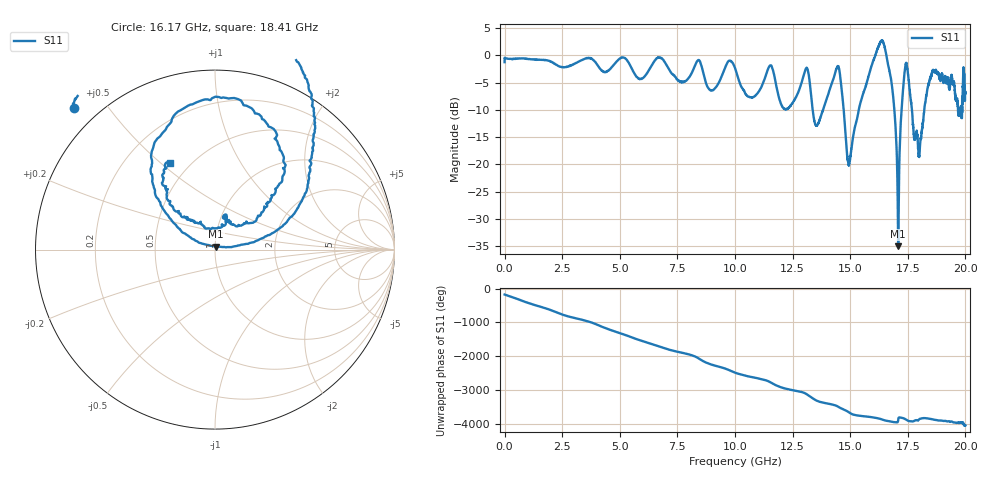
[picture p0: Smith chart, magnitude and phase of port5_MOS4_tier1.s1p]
! Created with skrf 1.8.0 (http://scikit-rf.org).
# GHz S RI R 50.0
!freq ReS11 ImS11
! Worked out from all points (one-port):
!   10001 points, 1 MHz to 20 GHz, reference 50 ohm
!   lowest |S11| = -35.0 dB at 17.08 GHz (marker M1), VSWR 1.04, Z = 50.5 + j1.71 ohm
!   |S11| at or under -10 dB: 13.37 GHz to 13.82 GHz (445.6 MHz wide, 3.28 % of centre); 14.72 GHz to 15.37 GHz (657 MHz wide, 4.37 % of centre); 17.68 GHz to 18.22 GHz (535.4 MHz wide, 2.98 % of centre) (the widest 3 of 15)
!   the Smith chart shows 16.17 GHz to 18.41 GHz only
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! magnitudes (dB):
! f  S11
! 1 MHz  -1.3
! 2.501 GHz  -2.2
! 5.001 GHz  -0.6
! 7.501 GHz  -4.4
! 8.423 GHz  -0.9
! 9.009 GHz  -6.4
! 10 GHz  -2.3
! 10.72 GHz  -7.7
! 11.55 GHz  -1.9
! 12.06 GHz  -9.5
! 12.5 GHz  -8.7
! 13.11 GHz  -2.3
! 13.57 GHz  -12.8
! 14.46 GHz  -2.0
! 14.88 GHz  -18.9
! 15 GHz  -18.8
! 15.48 GHz  -8.1
! 16.38 GHz  2.6
! 16.81 GHz  -5.7
! 17.08 GHz  -35.0
! 17.33 GHz  -4.4
! 17.5 GHz  -3.2
! 17.76 GHz  -14.4
! 17.99 GHz  -18.5
! 18.62 GHz  -2.9
! 19.44 GHz  -5.1
! 19.76 GHz  -9.9
! 20 GHz  -7.0
